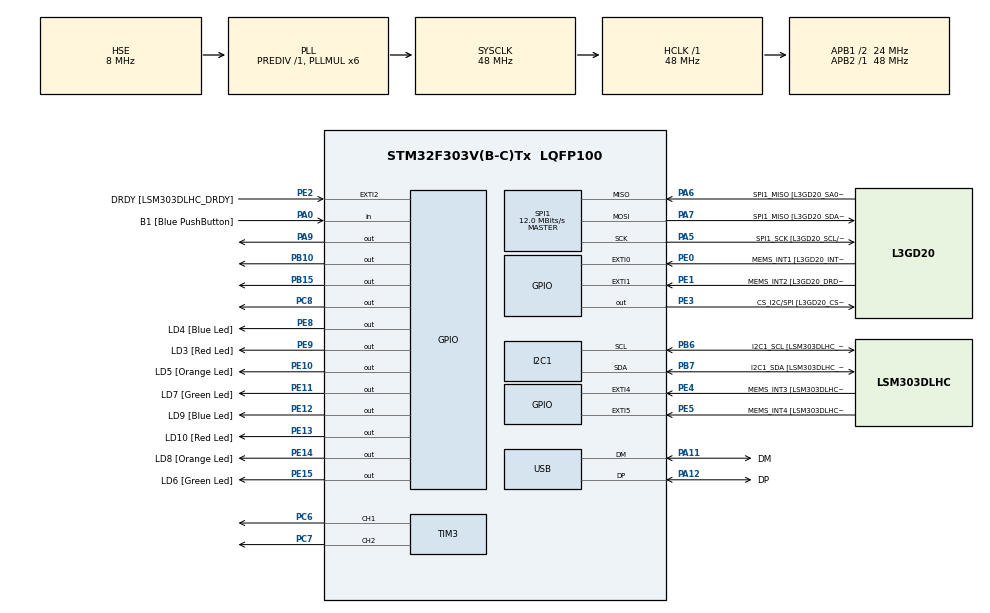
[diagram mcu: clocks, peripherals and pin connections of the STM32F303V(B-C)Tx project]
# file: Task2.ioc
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I2C1.Timing=0x00201D2B
I2C1.Timing-I2C=0x2000090E
Mcu.Family=STM32F3
Mcu.Name=STM32F303V(B-C)Tx
Mcu.Package=LQFP100
NVIC.PriorityGroup=NVIC_PRIORITYGROUP_0
PA0.GPIO_Label=B1 [Blue PushButton]
PA0.Signal=GPIO_Input
PA11.GPIO_Label=DM
PA11.Mode=Device
PA11.Signal=USB_DM
PA12.GPIO_Label=DP
PA12.Mode=Device
PA12.Signal=USB_DP
PA13.GPIO_Label=SWDIO
PA13.Mode=Serial_Wire
PA13.Signal=SYS_JTMS-SWDIO
PA14.GPIO_Label=SWCLK
PA14.Mode=Serial_Wire
PA14.Signal=SYS_JTCK-SWCLK
PA5.GPIO_Label=SPI1_SCK [L3GD20_SCL/SPC]
PA5.Mode=Full_Duplex_Master
PA5.Signal=SPI1_SCK
PA6.GPIO_Label=SPI1_MISO [L3GD20_SA0/SDO]
PA6.Mode=Full_Duplex_Master
PA6.Signal=SPI1_MISO
PA7.GPIO_Label=SPI1_MISO [L3GD20_SDA/SDI/SDO]
PA7.Mode=Full_Duplex_Master
PA7.Signal=SPI1_MOSI
PA9.Signal=GPIO_Output
PB10.Signal=GPIO_Output
PB15.Signal=GPIO_Output
PB3.GPIO_Label=SWO
PB3.Signal=SYS_JTDO-TRACESWO
PB6.GPIO_Label=I2C1_SCL [LSM303DLHC_SCL]
PB6.GPIO_Pu=GPIO_PULLUP
PB6.Mode=I2C
PB6.Signal=I2C1_SCL
PB7.GPIO_Label=I2C1_SDA [LSM303DLHC_SDA]
PB7.GPIO_Pu=GPIO_PULLUP
PB7.Mode=I2C
PB7.Signal=I2C1_SDA
PC14-OSC32_IN.GPIO_Label=OSC32_IN
PC14-OSC32_IN.Signal=RCC_OSC32_IN
PC15-OSC32_OUT.GPIO_Label=OSC32_OUT
PC15-OSC32_OUT.Signal=RCC_OSC32_OUT
PC6.Signal=S_TIM3_CH1
PC7.Signal=S_TIM3_CH2
PC8.Signal=GPIO_Output
PE0.GPIO_Label=MEMS_INT1 [L3GD20_INT1]
PE0.GPIO_ModeDefaultEXTI=GPIO_MODE_EVT_RISING
PE0.Signal=GPXTI0
PE1.GPIO_Label=MEMS_INT2 [L3GD20_DRDY/INT2]
PE1.GPIO_ModeDefaultEXTI=GPIO_MODE_EVT_RISING
PE1.Signal=GPXTI1
PE10.GPIO_Label=LD5 [Orange Led]
PE10.Signal=GPIO_Output
PE11.GPIO_Label=LD7 [Green Led]
PE11.Signal=GPIO_Output
PE12.GPIO_Label=LD9 [Blue Led]
PE12.Signal=GPIO_Output
PE13.GPIO_Label=LD10 [Red Led]
PE13.Signal=GPIO_Output
PE14.GPIO_Label=LD8 [Orange Led]
PE14.Signal=GPIO_Output
PE15.GPIO_Label=LD6 [Green Led]
PE15.Signal=GPIO_Output
PE2.GPIO_Label=DRDY [LSM303DLHC_DRDY]
PE2.GPIO_ModeDefaultEXTI=GPIO_MODE_EVT_RISING
PE2.Signal=GPXTI2
PE3.GPIO_Label=CS_I2C/SPI [L3GD20_CS_I2C/SPI]
PE3.Signal=GPIO_Output
PE4.GPIO_Label=MEMS_INT3 [LSM303DLHC_INT1]
PE4.GPIO_ModeDefaultEXTI=GPIO_MODE_EVT_RISING
PE4.Signal=GPXTI4
PE5.GPIO_Label=MEMS_INT4 [LSM303DLHC_INT2]
PE5.GPIO_ModeDefaultEXTI=GPIO_MODE_EVT_RISING
PE5.Signal=GPXTI5
PE8.GPIO_Label=LD4 [Blue Led]
PE8.Signal=GPIO_Output
PE9.GPIO_Label=LD3 [Red Led]
PE9.Signal=GPIO_Output
PF0-OSC_IN.GPIO_Label=OSC_IN
PF0-OSC_IN.Mode=HSE-External-Clock-Source
PF0-OSC_IN.Signal=RCC_OSC_IN
PF1-OSC_OUT.GPIO_Label=OSC_OUT
PF1-OSC_OUT.Signal=RCC_OSC_OUT
ProjectManager.HeapSize=0x200
ProjectManager.StackSize=0x400
ProjectManager.TargetToolchain=CMake
RCC.AHBFreq_Value=48000000
RCC.APB1CLKDivider=RCC_HCLK_DIV2
RCC.APB1Freq_Value=24000000
RCC.APB1TimFreq_Value=48000000
RCC.APB2Freq_Value=48000000
RCC.APB2TimFreq_Value=48000000
RCC.CortexFreq_Value=48000000
RCC.HCLKFreq_Value=48000000
RCC.HSE_VALUE=8000000
RCC.HSI_VALUE=8000000
RCC.LSE_VALUE=32768
RCC.PLLMUL=RCC_PLL_MUL6
RCC.SYSCLKFreq_VALUE=48000000
RCC.SYSCLKSourceVirtual=RCC_SYSCLKSOURCE_PLLCLK
RCC.USBFreq_Value=48000000
SH.S_TIM3_CH1.0=TIM3_CH1,PWM Generation1 CH1
SH.S_TIM3_CH2.0=TIM3_CH2,PWM Generation2 CH2
SPI1.BaudRatePrescaler=SPI_BAUDRATEPRESCALER_4
SPI1.BaudRatePrescaler-Full_Duplex_Master=SPI_BAUDRATEPRESCALER_2
SPI1.CalculateBaudRate=12.0 MBits/s
SPI1.CalculateBaudRate-Full_Duplex_Master=24.0 MBits/s
SPI1.Direction=SPI_DIRECTION_2LINES
SPI1.Mode=SPI_MODE_MASTER
SPI1.Mode-Full_Duplex_Master=SPI_MODE_MASTER
SPI1.VirtualType=VM_MASTER
TIM3.Channel-PWM\ Generation1\ CH1=TIM_CHANNEL_1
TIM3.Channel-PWM\ Generation2\ CH2=TIM_CHANNEL_2
board=STM32F3DISCOVERY

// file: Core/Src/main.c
/* USER CODE BEGIN Header */
/**
  ******************************************************************************
  * @file           : main.c
  * @brief          : Main program body
  ******************************************************************************
  * @attention
  *
  * Copyright (c) 2026 STMicroelectronics.
  * All rights reserved.
  *
  * This software is licensed under terms that can be found in the LICENSE file
  * in the root directory of this software component.
  * If no LICENSE file comes with this software, it is provided AS-IS.
  *
  ******************************************************************************
  */
/* USER CODE END Header */
#include "main.h"

I2C_HandleTypeDef hi2c1;

SPI_HandleTypeDef hspi1;

TIM_HandleTypeDef htim3;

PCD_HandleTypeDef hpcd_USB_FS;

void SystemClock_Config(void);
static void MX_GPIO_Init(void);
static void MX_I2C1_Init(void);
static void MX_SPI1_Init(void);
static void MX_TIM3_Init(void);
static void MX_USB_PCD_Init(void);

/* USER CODE BEGIN 0 */

#define PWM_MAX     65535
#define PWM_MIN     0
#define SPEED  65535

// Right Motor direction pins
#define R_A_PORT    GPIOA           // D8  → PA9
#define R_A_PIN     GPIO_PIN_9
#define R_B_PORT    GPIOB           // D12 → PB15
#define R_B_PIN     GPIO_PIN_15

// Left Motor direction pins
#define L_A_PORT    GPIOC           // D7  → PC8
#define L_A_PIN     GPIO_PIN_8
#define L_B_PORT    GPIOB           // D6  → PB10
#define L_B_PIN     GPIO_PIN_10

// MOTOR CONTROL FUNCTIONS

// Right Motor: Forward (D8=HIGH, D12=LOW)
void Motor_Right_Forward(uint32_t speed)
{
    HAL_GPIO_WritePin(R_A_PORT, R_A_PIN, 1);    // D8  = HIGH
    HAL_GPIO_WritePin(R_B_PORT, R_B_PIN, GPIO_PIN_RESET);  // D12 = LOW
    __HAL_TIM_SET_COMPARE(&htim3, TIM_CHANNEL_1, speed);   // Set PWM speed
}

// Right Motor: Backward (D8=LOW, D12=HIGH)
void Motor_Right_Backward(uint32_t speed)
{
    HAL_GPIO_WritePin(R_A_PORT, R_A_PIN, GPIO_PIN_RESET);  // D8  = LOW
    HAL_GPIO_WritePin(R_B_PORT, R_B_PIN, GPIO_PIN_SET);    // D12 = HIGH
    __HAL_TIM_SET_COMPARE(&htim3, TIM_CHANNEL_1, speed);
}

// Right Motor: Stop (D8=HIGH, D12=HIGH)
void Motor_Right_Stop(void)
{
    HAL_GPIO_WritePin(R_A_PORT, R_A_PIN, GPIO_PIN_SET);    // D8  = HIGH
    HAL_GPIO_WritePin(R_B_PORT, R_B_PIN, GPIO_PIN_SET);    // D12 = HIGH
    __HAL_TIM_SET_COMPARE(&htim3, TIM_CHANNEL_1, PWM_MIN); // Speed = 0
}

// Left Motor: Forward (D7=HIGH, D6=LOW)
void Motor_Left_Forward(uint32_t speed)
{
    HAL_GPIO_WritePin(L_A_PORT, L_A_PIN, GPIO_PIN_SET);    // D7 = HIGH
    HAL_GPIO_WritePin(L_B_PORT, L_B_PIN, GPIO_PIN_RESET);  // D6 = LOW
    __HAL_TIM_SET_COMPARE(&htim3, TIM_CHANNEL_2, speed);
}

// Left Motor: Backward (D7=LOW, D6=HIGH)
void Motor_Left_Backward(uint32_t speed)
{
    HAL_GPIO_WritePin(L_A_PORT, L_A_PIN, GPIO_PIN_RESET);  // D7 = LOW
    HAL_GPIO_WritePin(L_B_PORT, L_B_PIN, GPIO_PIN_SET);    // D6 = HIGH
    __HAL_TIM_SET_COMPARE(&htim3, TIM_CHANNEL_2, speed);
}

// Left Motor: Stop (D7=HIGH, D6=HIGH)
void Motor_Left_Stop(void)
{
    HAL_GPIO_WritePin(L_A_PORT, L_A_PIN, GPIO_PIN_SET);    // D7 = HIGH
    HAL_GPIO_WritePin(L_B_PORT, L_B_PIN, GPIO_PIN_SET);    // D6 = HIGH
    __HAL_TIM_SET_COMPARE(&htim3, TIM_CHANNEL_2, PWM_MIN);
}

/* USER CODE END 0 */

int main(void)
{

  /* MCU Configuration--------------------------------------------------------*/

  /* Reset of all peripherals, Initializes the Flash interface and the Systick. */
  HAL_Init();

  /* Configure the system clock */
  SystemClock_Config();

  /* Initialize all configured peripherals */
  MX_GPIO_Init();
  MX_I2C1_Init();
  MX_SPI1_Init();
  MX_TIM3_Init();
  MX_USB_PCD_Init();
  /* USER CODE BEGIN 2 */
  HAL_TIM_PWM_Start(&htim3, TIM_CHANNEL_1);  // Right motor PWM
  HAL_TIM_PWM_Start(&htim3, TIM_CHANNEL_2);  // Left  motor PWM
  /* USER CODE END 2 */

  /* Infinite loop */
  while (1)
  {

    /* USER CODE BEGIN 3 */
    // Phase 1: Both motors Forward (2 sec)
        Motor_Right_Forward(SPEED);
        Motor_Left_Forward(SPEED);
        HAL_Delay(2000);

        // Phase 4: STOP (1 sec)
        Motor_Right_Stop();
        Motor_Left_Stop();
        HAL_Delay(1000);

        // Phase 5: Both motors Backward (2 sec)
        Motor_Right_Backward(SPEED);
        Motor_Left_Backward(SPEED);
        HAL_Delay(2000);

        // Phase 7: STOP (1 sec)
        Motor_Right_Stop();
        Motor_Left_Stop();
        HAL_Delay(1000);

  }
  /* USER CODE END 3 */
}
void SystemClock_Config(void)
{
  RCC_OscInitTypeDef RCC_OscInitStruct = {0};
  RCC_ClkInitTypeDef RCC_ClkInitStruct = {0};
  RCC_PeriphCLKInitTypeDef PeriphClkInit = {0};

  /** Initializes the RCC Oscillators according to the specified parameters
  * in the RCC_OscInitTypeDef structure.
  */
  RCC_OscInitStruct.OscillatorType = RCC_OSCILLATORTYPE_HSI|RCC_OSCILLATORTYPE_HSE;
  RCC_OscInitStruct.HSEState = RCC_HSE_BYPASS;
  RCC_OscInitStruct.HSEPredivValue = RCC_HSE_PREDIV_DIV1;
  RCC_OscInitStruct.HSIState = RCC_HSI_ON;
  RCC_OscInitStruct.HSICalibrationValue = RCC_HSICALIBRATION_DEFAULT;
  RCC_OscInitStruct.PLL.PLLState = RCC_PLL_ON;
  RCC_OscInitStruct.PLL.PLLSource = RCC_PLLSOURCE_HSE;
  RCC_OscInitStruct.PLL.PLLMUL = RCC_PLL_MUL6;
  if (HAL_RCC_OscConfig(&RCC_OscInitStruct) != HAL_OK)
  {
    Error_Handler();
  }

  /** Initializes the CPU, AHB and APB buses clocks
  */
  RCC_ClkInitStruct.ClockType = RCC_CLOCKTYPE_HCLK|RCC_CLOCKTYPE_SYSCLK
                              |RCC_CLOCKTYPE_PCLK1|RCC_CLOCKTYPE_PCLK2;
  RCC_ClkInitStruct.SYSCLKSource = RCC_SYSCLKSOURCE_PLLCLK;
  RCC_ClkInitStruct.AHBCLKDivider = RCC_SYSCLK_DIV1;
  RCC_ClkInitStruct.APB1CLKDivider = RCC_HCLK_DIV2;
  RCC_ClkInitStruct.APB2CLKDivider = RCC_HCLK_DIV1;

  if (HAL_RCC_ClockConfig(&RCC_ClkInitStruct, FLASH_LATENCY_1) != HAL_OK)
  {
    Error_Handler();
  }
  PeriphClkInit.PeriphClockSelection = RCC_PERIPHCLK_USB|RCC_PERIPHCLK_I2C1;
  PeriphClkInit.I2c1ClockSelection = RCC_I2C1CLKSOURCE_HSI;
  PeriphClkInit.USBClockSelection = RCC_USBCLKSOURCE_PLL;
  if (HAL_RCCEx_PeriphCLKConfig(&PeriphClkInit) != HAL_OK)
  {
    Error_Handler();
  }
}

static void MX_I2C1_Init(void)
{

  hi2c1.Instance = I2C1;
  hi2c1.Init.Timing = 0x00201D2B;
  hi2c1.Init.OwnAddress1 = 0;
  hi2c1.Init.AddressingMode = I2C_ADDRESSINGMODE_7BIT;
  hi2c1.Init.DualAddressMode = I2C_DUALADDRESS_DISABLE;
  hi2c1.Init.OwnAddress2 = 0;
  hi2c1.Init.OwnAddress2Masks = I2C_OA2_NOMASK;
  hi2c1.Init.GeneralCallMode = I2C_GENERALCALL_DISABLE;
  hi2c1.Init.NoStretchMode = I2C_NOSTRETCH_DISABLE;
  if (HAL_I2C_Init(&hi2c1) != HAL_OK)
  {
    Error_Handler();
  }

  /** Configure Analogue filter
  */
  if (HAL_I2CEx_ConfigAnalogFilter(&hi2c1, I2C_ANALOGFILTER_ENABLE) != HAL_OK)
  {
    Error_Handler();
  }

  /** Configure Digital filter
  */
  if (HAL_I2CEx_ConfigDigitalFilter(&hi2c1, 0) != HAL_OK)
  {
    Error_Handler();
  }

}

static void MX_SPI1_Init(void)
{

  /* SPI1 parameter configuration*/
  hspi1.Instance = SPI1;
  hspi1.Init.Mode = SPI_MODE_MASTER;
  hspi1.Init.Direction = SPI_DIRECTION_2LINES;
  hspi1.Init.DataSize = SPI_DATASIZE_4BIT;
  hspi1.Init.CLKPolarity = SPI_POLARITY_LOW;
  hspi1.Init.CLKPhase = SPI_PHASE_1EDGE;
  hspi1.Init.NSS = SPI_NSS_SOFT;
  hspi1.Init.BaudRatePrescaler = SPI_BAUDRATEPRESCALER_4;
  hspi1.Init.FirstBit = SPI_FIRSTBIT_MSB;
  hspi1.Init.TIMode = SPI_TIMODE_DISABLE;
  hspi1.Init.CRCCalculation = SPI_CRCCALCULATION_DISABLE;
  hspi1.Init.CRCPolynomial = 7;
  hspi1.Init.CRCLength = SPI_CRC_LENGTH_DATASIZE;
  hspi1.Init.NSSPMode = SPI_NSS_PULSE_ENABLE;
  if (HAL_SPI_Init(&hspi1) != HAL_OK)
  {
    Error_Handler();
  }

}

static void MX_TIM3_Init(void)
{

  TIM_MasterConfigTypeDef sMasterConfig = {0};
  TIM_OC_InitTypeDef sConfigOC = {0};

  htim3.Instance = TIM3;
  htim3.Init.Prescaler = 0;
  htim3.Init.CounterMode = TIM_COUNTERMODE_UP;
  htim3.Init.Period = 65535;
  htim3.Init.ClockDivision = TIM_CLOCKDIVISION_DIV1;
  htim3.Init.AutoReloadPreload = TIM_AUTORELOAD_PRELOAD_DISABLE;
  if (HAL_TIM_PWM_Init(&htim3) != HAL_OK)
  {
    Error_Handler();
  }
  sMasterConfig.MasterOutputTrigger = TIM_TRGO_RESET;
  sMasterConfig.MasterSlaveMode = TIM_MASTERSLAVEMODE_DISABLE;
  if (HAL_TIMEx_MasterConfigSynchronization(&htim3, &sMasterConfig) != HAL_OK)
  {
    Error_Handler();
  }
  sConfigOC.OCMode = TIM_OCMODE_PWM1;
  sConfigOC.Pulse = 0;
  sConfigOC.OCPolarity = TIM_OCPOLARITY_HIGH;
  sConfigOC.OCFastMode = TIM_OCFAST_DISABLE;
  if (HAL_TIM_PWM_ConfigChannel(&htim3, &sConfigOC, TIM_CHANNEL_1) != HAL_OK)
  {
    Error_Handler();
  }
  if (HAL_TIM_PWM_ConfigChannel(&htim3, &sConfigOC, TIM_CHANNEL_2) != HAL_OK)
  {
    Error_Handler();
  }
  HAL_TIM_MspPostInit(&htim3);

}

static void MX_USB_PCD_Init(void)
{

  hpcd_USB_FS.Instance = USB;
  hpcd_USB_FS.Init.dev_endpoints = 8;
  hpcd_USB_FS.Init.speed = PCD_SPEED_FULL;
  hpcd_USB_FS.Init.phy_itface = PCD_PHY_EMBEDDED;
  hpcd_USB_FS.Init.low_power_enable = DISABLE;
  hpcd_USB_FS.Init.battery_charging_enable = DISABLE;
  if (HAL_PCD_Init(&hpcd_USB_FS) != HAL_OK)
  {
    Error_Handler();
  }

}

static void MX_GPIO_Init(void)
{
  GPIO_InitTypeDef GPIO_InitStruct = {0};

  /* GPIO Ports Clock Enable */
  __HAL_RCC_GPIOE_CLK_ENABLE();
  __HAL_RCC_GPIOC_CLK_ENABLE();
  __HAL_RCC_GPIOF_CLK_ENABLE();
  __HAL_RCC_GPIOA_CLK_ENABLE();
  __HAL_RCC_GPIOB_CLK_ENABLE();

  /*Configure GPIO pin Output Level */
  HAL_GPIO_WritePin(GPIOE, CS_I2C_SPI_Pin|LD4_Pin|LD3_Pin|LD5_Pin
                          |LD7_Pin|LD9_Pin|LD10_Pin|LD8_Pin
                          |LD6_Pin, GPIO_PIN_RESET);

  /*Configure GPIO pin Output Level */
  HAL_GPIO_WritePin(GPIOB, GPIO_PIN_10|GPIO_PIN_15, GPIO_PIN_RESET);

  /*Configure GPIO pin Output Level */
  HAL_GPIO_WritePin(GPIOC, GPIO_PIN_8, GPIO_PIN_RESET);

  /*Configure GPIO pin Output Level */
  HAL_GPIO_WritePin(GPIOA, GPIO_PIN_9, GPIO_PIN_RESET);

  /*Configure GPIO pins : DRDY_Pin MEMS_INT3_Pin MEMS_INT4_Pin MEMS_INT1_Pin
                           MEMS_INT2_Pin */
  GPIO_InitStruct.Pin = DRDY_Pin|MEMS_INT3_Pin|MEMS_INT4_Pin|MEMS_INT1_Pin
                          |MEMS_INT2_Pin;
  GPIO_InitStruct.Mode = GPIO_MODE_EVT_RISING;
  GPIO_InitStruct.Pull = GPIO_NOPULL;
  HAL_GPIO_Init(GPIOE, &GPIO_InitStruct);

  /*Configure GPIO pins : CS_I2C_SPI_Pin LD4_Pin LD3_Pin LD5_Pin
                           LD7_Pin LD9_Pin LD10_Pin LD8_Pin
                           LD6_Pin */
  GPIO_InitStruct.Pin = CS_I2C_SPI_Pin|LD4_Pin|LD3_Pin|LD5_Pin
                          |LD7_Pin|LD9_Pin|LD10_Pin|LD8_Pin
                          |LD6_Pin;
  GPIO_InitStruct.Mode = GPIO_MODE_OUTPUT_PP;
  GPIO_InitStruct.Pull = GPIO_NOPULL;
  GPIO_InitStruct.Speed = GPIO_SPEED_FREQ_LOW;
  HAL_GPIO_Init(GPIOE, &GPIO_InitStruct);

  /*Configure GPIO pin : B1_Pin */
  GPIO_InitStruct.Pin = B1_Pin;
  GPIO_InitStruct.Mode = GPIO_MODE_INPUT;
  GPIO_InitStruct.Pull = GPIO_NOPULL;
  HAL_GPIO_Init(B1_GPIO_Port, &GPIO_InitStruct);

  /*Configure GPIO pins : PB10 PB15 */
  GPIO_InitStruct.Pin = GPIO_PIN_10|GPIO_PIN_15;
  GPIO_InitStruct.Mode = GPIO_MODE_OUTPUT_PP;
  GPIO_InitStruct.Pull = GPIO_NOPULL;
  GPIO_InitStruct.Speed = GPIO_SPEED_FREQ_LOW;
  HAL_GPIO_Init(GPIOB, &GPIO_InitStruct);

  /*Configure GPIO pin : PC8 */
  GPIO_InitStruct.Pin = GPIO_PIN_8;
  GPIO_InitStruct.Mode = GPIO_MODE_OUTPUT_PP;
  GPIO_InitStruct.Pull = GPIO_NOPULL;
  GPIO_InitStruct.Speed = GPIO_SPEED_FREQ_LOW;
  HAL_GPIO_Init(GPIOC, &GPIO_InitStruct);

  /*Configure GPIO pin : PA9 */
  GPIO_InitStruct.Pin = GPIO_PIN_9;
  GPIO_InitStruct.Mode = GPIO_MODE_OUTPUT_PP;
  GPIO_InitStruct.Pull = GPIO_NOPULL;
  GPIO_InitStruct.Speed = GPIO_SPEED_FREQ_LOW;
  HAL_GPIO_Init(GPIOA, &GPIO_InitStruct);

}

void Error_Handler(void)
{
  __disable_irq();
  while (1)
  {
  }
}
